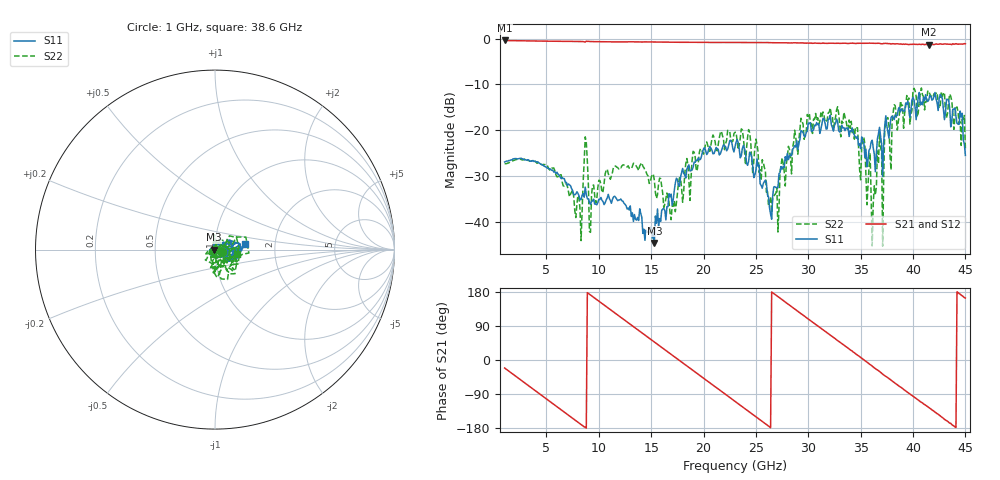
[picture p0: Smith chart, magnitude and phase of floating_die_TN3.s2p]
!Keysight Technologies,N5247B,MY61255062,A.19.80.06
!Date: Monday, May 18, 2026 13:04:20
!Correction: S11(Cdelta 2-Port  )
!S21(Cdelta 2-Port  )
!S12(Cdelta 2-Port  )
!S22(Cdelta 2-Port  )
!S2P File: Measurements: S11, S21, S12, S22:
# Hz S  dB  R 50
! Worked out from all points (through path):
!   441 points, 1 GHz to 45 GHz, reference 50 ohm
!   highest |S21| = -0.41 dB at 1 GHz (marker M1); lowest = -1.3 dB at 41.5 GHz (marker M2)
!   group delay of S21, straight-line fit = 56.5 ps
!   lowest |S11| = -44.6 dB at 15.3 GHz (marker M3), VSWR 1.01, Z = 49.4 - j0.0856 ohm
!   |S11| at or under -10 dB: start of sweep to end of sweep
!   |S22| runs from -45.3 to -10.8 dB; largest |S21 - S12| = 0.019
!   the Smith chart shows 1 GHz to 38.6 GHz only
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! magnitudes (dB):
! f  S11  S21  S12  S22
! 1 GHz  -26.9  -0.4  -0.4  -27.3
! 8.4 GHz  -34.2  -0.6  -0.6  -37.7
! 8.7 GHz  -32.4  -0.7  -0.7  -21.5
! 9.2 GHz  -36.2  -0.6  -0.6  -42.3
! 11.6 GHz  -34.7  -0.7  -0.7  -27.8
! 15.3 GHz  -44.6  -0.7  -0.7  -31.0
! 15.7 GHz  -40.9  -0.8  -0.7  -31.7
! 17.1 GHz  -35.2  -0.8  -0.8  -36.6
! 19.1 GHz  -27.0  -0.8  -0.8  -24.8
! 23 GHz  -23.6  -0.9  -0.8  -20.5
! 25 GHz  -28.8  -0.9  -0.9  -22.0
! 26.3 GHz  -37.0  -0.9  -0.9  -35.6
! 27 GHz  -32.5  -0.9  -0.9  -32.6
! 27.5 GHz  -28.5  -0.9  -0.9  -26.0
! 30.4 GHz  -20.2  -1.0  -1.0  -20.7
! 34.5 GHz  -21.4  -1.1  -1.1  -19.3
! 36.2 GHz  -23.9  -1.1  -1.0  -36.1
! 36.8 GHz  -19.4  -1.0  -1.1  -20.8
! 37.7 GHz  -21.7  -1.1  -1.1  -19.1
! 41.5 GHz  -13.4  -1.3  -1.3  -11.4
! 44.5 GHz  -15.8  -1.2  -1.2  -18.1
! 45 GHz  -25.5  -1.1  -1.1  -24.0
